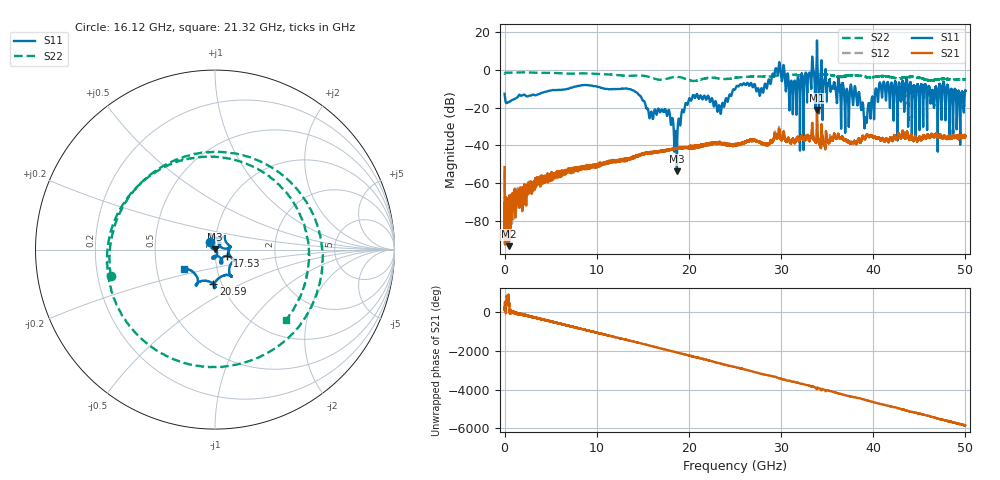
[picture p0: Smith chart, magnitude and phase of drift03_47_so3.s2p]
!Created with skrf (http://scikit-rf.org).
# Hz S RI R 50.0
!freq ReS11 ImS11 ReS21 ImS21 ReS12 ImS12 ReS22 ImS22
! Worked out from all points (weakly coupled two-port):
!   10001 points, 300 kHz to 50 GHz, reference 50 ohm
!   highest |S21| = -21.36 dB at 33.9 GHz (marker M1); lowest = -93.6 dB at 440.3 MHz (marker M2)
!   lowest |S11| = -53.9 dB at 18.7 GHz (marker M3), VSWR 1.00, Z = 50 + j0.202 ohm
!   |S11| at or under -10 dB: start of sweep to 6.948 GHz; 13.32 GHz to 25.05 GHz (11.73 GHz wide, 61.1 % of centre); 38.07 GHz to 40.27 GHz (2.193 GHz wide, 5.6 % of centre) (the widest 3 of 56)
!   |S22| runs from -5.9 to -1.3 dB; largest |S21 - S12| = 0.0065
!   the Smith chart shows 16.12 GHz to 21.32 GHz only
!   S11 on the Smith chart (normalised r, x): 16.12 GHz: 0.94, +0.08; 17.53 GHz: 1.14, -0.08; 20.59 GHz: 0.91, -0.36; 21.32 GHz: 0.69, -0.16
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300000  -0.2099 -0.0998  -0.00116 0.00235  -0.000532 0.00195  -0.7686 -0.194
4.402974e8  -0.0865 0.1094  -1.42e-05 -1.53e-05  0.000196 -2.72e-05  -0.53 0.6598
1.540291e9  0.206 0.0412  -0.000138 -0.000574  1.14e-05 -0.000442  0.85 0.069
3.160281e9  -0.2182 -0.00863  0.000257 0.001  0.000178 0.00103  -0.8443 -0.025
4.665272e9  0.2635 0.0615  4.52e-05 -0.00136  -4.46e-05 -0.00146  0.8187 0.1428
6.360262e9  -0.2997 0.000424  0.000579 0.00192  0.000436 0.0017  -0.8038 -0.0418
8.33525e9  0.2839 -0.2674  -0.00228 -0.000991  -0.00231 -0.000945  0.6019 -0.5354
9.575243e9  -0.3717 -0.048  0.00154 0.00238  0.00138 0.00259  -0.7856 -0.0954
1.124523e10  0.3053 0.0226  -0.00226 -0.00278  -0.00219 -0.00285  0.7567 0.0205
1.61202e10  -0.0299 0.0425  0.00603 0.00185  0.00614 0.00203  -0.582 -0.1461
1.66702e10  0.0539 0.0753  0.00451 -0.00509  0.00467 -0.00486  -0.359 0.4179
1.752519e10  0.0678 -0.0353  -0.00621 -0.00404  -0.00611 -0.00383  0.4915 0.2911
1.869519e10  -4.93e-05 0.00202  0.00246 0.00793  0.00243 0.00797  -0.0877 -0.6486
2.058518e10  -0.00953 -0.191  -0.00813 -0.004  -0.0085 -0.00481  0.3812 0.3365
2.132017e10  -0.1702 -0.1079  -0.00523 0.008  -0.00534 0.00832  0.3974 -0.39
2.500015e10  -0.2964 -0.0484  0.00828 0.00613  0.0079 0.00662  -0.1853 -0.5816
3.051512e10  0.2356 -0.1278  -0.00186 0.0128  -0.00194 0.0124  0.7427 -0.0679
3.213011e10  0.201 0.3716  -0.000211 -0.0149  -0.000299 -0.0152  -0.6922 0.00764
3.33351e10  0.4771 -1.017  -0.00525 0.0256  -0.00572 0.025  0.6145 0.3682
3.38951e10  -0.707 -5.998  0.085 0.00884  0.0794 0.00709  0.6774 -0.3219
4.167005e10  -0.2179 0.2827  -0.0117 -0.00462  -0.0114 -0.00516  -0.6502 -0.0582
5e10  -0.1384 -0.2427  0.00191 -0.0176  0.00126 -0.0158  0.4651 -0.3144
